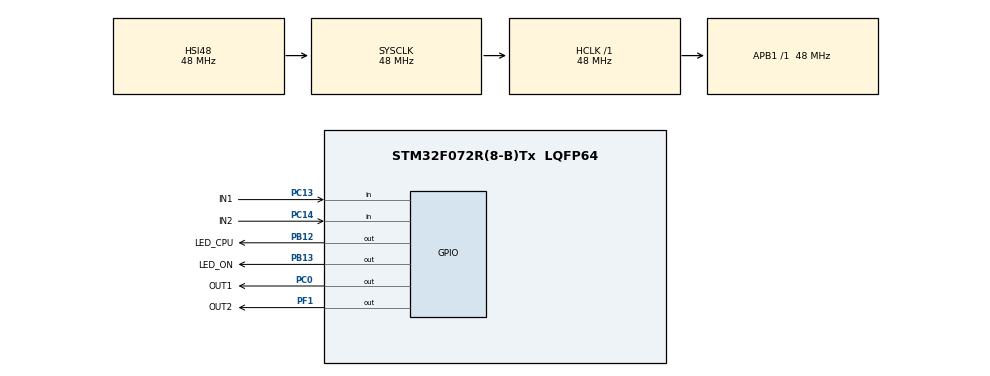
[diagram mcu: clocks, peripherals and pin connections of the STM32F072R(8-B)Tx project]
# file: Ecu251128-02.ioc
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IWDG.Prescaler=IWDG_PRESCALER_64
Mcu.Family=STM32F0
Mcu.Name=STM32F072R(8-B)Tx
Mcu.Package=LQFP64
NVIC.TIM3_IRQn=true\:0\:0\:false\:false\:true\:true\:true\:true
PB12.GPIO_Label=LED_CPU
PB12.Signal=GPIO_Output
PB13.GPIO_Label=LED_ON
PB13.Signal=GPIO_Output
PC0.GPIO_Label=OUT1
PC0.Signal=GPIO_Output
PC13.GPIO_Label=IN1
PC13.GPIO_PuPd=GPIO_PULLUP
PC13.Signal=GPIO_Input
PC14-OSC32_IN.GPIO_Label=IN2
PC14-OSC32_IN.GPIO_PuPd=GPIO_PULLUP
PC14-OSC32_IN.Signal=GPIO_Input
PF1-OSC_OUT.GPIO_Label=OUT2
PF1-OSC_OUT.Signal=GPIO_Output
ProjectManager.HeapSize=0x200
ProjectManager.StackSize=0x400
ProjectManager.TargetToolchain=STM32CubeIDE
RCC.AHBFreq_Value=48000000
RCC.APB1Freq_Value=48000000
RCC.APB1TimFreq_Value=48000000
RCC.HCLKFreq_Value=48000000
RCC.SYSCLKFreq_VALUE=48000000
RCC.SYSCLKSource=RCC_SYSCLKSOURCE_HSI48
TIM2.Prescaler=48-1
TIM3.Period=10-1
TIM3.Prescaler=480-1
VP_IWDG_VS_IWDG.Mode=IWDG_Activate
VP_TIM2_VS_ClockSourceINT.Mode=Internal
VP_TIM3_VS_ClockSourceINT.Mode=Internal
board=custom

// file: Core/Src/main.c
/* USER CODE BEGIN Header */
/**
  ******************************************************************************
  * @file           : main.c
  * @brief          : Main program body
  ******************************************************************************
  * @attention
  *
  * Copyright (c) 2025 STMicroelectronics.
  * All rights reserved.
  *
  * This software is licensed under terms that can be found in the LICENSE file
  * in the root directory of this software component.
  * If no LICENSE file comes with this software, it is provided AS-IS.
  *
  ******************************************************************************
  */
/* USER CODE END Header */
#include "main.h"

/* USER CODE BEGIN Includes */
#include "global.h"
/* USER CODE END Includes */

IWDG_HandleTypeDef hiwdg;

TIM_HandleTypeDef htim2;
TIM_HandleTypeDef htim3;

/* USER CODE BEGIN PV */
uint8_t
	flagEntradaAcionamento = false,
	flagEntradaSeguranca = false,

	flagOperacao = false;

uint8_t
	contadorTempoPulso = 0,
	contadorTempoEntreReles = 0,

	passoOperacao = OPERACAO_STANDBY;

/* USER CODE END PV */

void SystemClock_Config(void);
static void MX_GPIO_Init(void);
static void MX_TIM2_Init(void);
static void MX_TIM3_Init(void);
static void MX_IWDG_Init(void);

/* USER CODE BEGIN 0 */
void HAL_TIM_PeriodElapsedCallback(TIM_HandleTypeDef *htim) {
	if(htim == &htim3) {
		schedulerEngine();
	}
}

void delayMicro(uint32_t tempo) {
	__HAL_TIM_SET_COUNTER(&htim2, 0);
	while(__HAL_TIM_GET_COUNTER(&htim2) < tempo) {
	}
}

void reiniciaWatchDog() {
	HAL_IWDG_Refresh(&hiwdg);
}

/* USER CODE END 0 */

int main(void)
{

  /* MCU Configuration--------------------------------------------------------*/

  /* Reset of all peripherals, Initializes the Flash interface and the Systick. */
  HAL_Init();

  /* Configure the system clock */
  SystemClock_Config();

  /* Initialize all configured peripherals */
  MX_GPIO_Init();
  MX_TIM2_Init();
  MX_TIM3_Init();
  MX_IWDG_Init();
  /* USER CODE BEGIN 2 */
  HAL_TIM_Base_Start(&htim2); //Timer do delay us
  HAL_TIM_Base_Start_IT(&htim3); //Timer do Scheduller

  /* USER CODE END 2 */

  /* Infinite loop */
  /* USER CODE BEGIN WHILE */
  while (1)
  {
	  entradasDigitais();
	  operacao();
    /* USER CODE END WHILE */

  }
}

void SystemClock_Config(void)
{
  RCC_OscInitTypeDef RCC_OscInitStruct = {0};
  RCC_ClkInitTypeDef RCC_ClkInitStruct = {0};

  /** Initializes the RCC Oscillators according to the specified parameters
  * in the RCC_OscInitTypeDef structure.
  */
  RCC_OscInitStruct.OscillatorType = RCC_OSCILLATORTYPE_HSI48|RCC_OSCILLATORTYPE_LSI;
  RCC_OscInitStruct.HSI48State = RCC_HSI48_ON;
  RCC_OscInitStruct.LSIState = RCC_LSI_ON;
  RCC_OscInitStruct.PLL.PLLState = RCC_PLL_NONE;
  if (HAL_RCC_OscConfig(&RCC_OscInitStruct) != HAL_OK)
  {
    Error_Handler();
  }

  /** Initializes the CPU, AHB and APB buses clocks
  */
  RCC_ClkInitStruct.ClockType = RCC_CLOCKTYPE_HCLK|RCC_CLOCKTYPE_SYSCLK
                              |RCC_CLOCKTYPE_PCLK1;
  RCC_ClkInitStruct.SYSCLKSource = RCC_SYSCLKSOURCE_HSI48;
  RCC_ClkInitStruct.AHBCLKDivider = RCC_SYSCLK_DIV1;
  RCC_ClkInitStruct.APB1CLKDivider = RCC_HCLK_DIV1;

  if (HAL_RCC_ClockConfig(&RCC_ClkInitStruct, FLASH_LATENCY_1) != HAL_OK)
  {
    Error_Handler();
  }
}

static void MX_IWDG_Init(void)
{

  hiwdg.Instance = IWDG;
  hiwdg.Init.Prescaler = IWDG_PRESCALER_64;
  hiwdg.Init.Window = 4095;
  hiwdg.Init.Reload = 4095;
  if (HAL_IWDG_Init(&hiwdg) != HAL_OK)
  {
    Error_Handler();
  }

}

static void MX_TIM2_Init(void)
{

  TIM_ClockConfigTypeDef sClockSourceConfig = {0};
  TIM_MasterConfigTypeDef sMasterConfig = {0};

  htim2.Instance = TIM2;
  htim2.Init.Prescaler = 48-1;
  htim2.Init.CounterMode = TIM_COUNTERMODE_UP;
  htim2.Init.Period = 4294967295;
  htim2.Init.ClockDivision = TIM_CLOCKDIVISION_DIV1;
  htim2.Init.AutoReloadPreload = TIM_AUTORELOAD_PRELOAD_DISABLE;
  if (HAL_TIM_Base_Init(&htim2) != HAL_OK)
  {
    Error_Handler();
  }
  sClockSourceConfig.ClockSource = TIM_CLOCKSOURCE_INTERNAL;
  if (HAL_TIM_ConfigClockSource(&htim2, &sClockSourceConfig) != HAL_OK)
  {
    Error_Handler();
  }
  sMasterConfig.MasterOutputTrigger = TIM_TRGO_RESET;
  sMasterConfig.MasterSlaveMode = TIM_MASTERSLAVEMODE_DISABLE;
  if (HAL_TIMEx_MasterConfigSynchronization(&htim2, &sMasterConfig) != HAL_OK)
  {
    Error_Handler();
  }

}

static void MX_TIM3_Init(void)
{

  TIM_ClockConfigTypeDef sClockSourceConfig = {0};
  TIM_MasterConfigTypeDef sMasterConfig = {0};

  htim3.Instance = TIM3;
  htim3.Init.Prescaler = 480-1;
  htim3.Init.CounterMode = TIM_COUNTERMODE_UP;
  htim3.Init.Period = 10-1;
  htim3.Init.ClockDivision = TIM_CLOCKDIVISION_DIV1;
  htim3.Init.AutoReloadPreload = TIM_AUTORELOAD_PRELOAD_DISABLE;
  if (HAL_TIM_Base_Init(&htim3) != HAL_OK)
  {
    Error_Handler();
  }
  sClockSourceConfig.ClockSource = TIM_CLOCKSOURCE_INTERNAL;
  if (HAL_TIM_ConfigClockSource(&htim3, &sClockSourceConfig) != HAL_OK)
  {
    Error_Handler();
  }
  sMasterConfig.MasterOutputTrigger = TIM_TRGO_RESET;
  sMasterConfig.MasterSlaveMode = TIM_MASTERSLAVEMODE_DISABLE;
  if (HAL_TIMEx_MasterConfigSynchronization(&htim3, &sMasterConfig) != HAL_OK)
  {
    Error_Handler();
  }

}

static void MX_GPIO_Init(void)
{
  GPIO_InitTypeDef GPIO_InitStruct = {0};

  /* GPIO Ports Clock Enable */
  __HAL_RCC_GPIOC_CLK_ENABLE();
  __HAL_RCC_GPIOF_CLK_ENABLE();
  __HAL_RCC_GPIOB_CLK_ENABLE();

  /*Configure GPIO pin Output Level */
  HAL_GPIO_WritePin(OUT2_GPIO_Port, OUT2_Pin, GPIO_PIN_RESET);

  /*Configure GPIO pin Output Level */
  HAL_GPIO_WritePin(OUT1_GPIO_Port, OUT1_Pin, GPIO_PIN_RESET);

  /*Configure GPIO pin Output Level */
  HAL_GPIO_WritePin(GPIOB, LED_CPU_Pin|LED_ON_Pin, GPIO_PIN_RESET);

  /*Configure GPIO pins : IN1_Pin IN2_Pin */
  GPIO_InitStruct.Pin = IN1_Pin|IN2_Pin;
  GPIO_InitStruct.Mode = GPIO_MODE_INPUT;
  GPIO_InitStruct.Pull = GPIO_PULLUP;
  HAL_GPIO_Init(GPIOC, &GPIO_InitStruct);

  /*Configure GPIO pin : OUT2_Pin */
  GPIO_InitStruct.Pin = OUT2_Pin;
  GPIO_InitStruct.Mode = GPIO_MODE_OUTPUT_PP;
  GPIO_InitStruct.Pull = GPIO_NOPULL;
  GPIO_InitStruct.Speed = GPIO_SPEED_FREQ_LOW;
  HAL_GPIO_Init(OUT2_GPIO_Port, &GPIO_InitStruct);

  /*Configure GPIO pin : OUT1_Pin */
  GPIO_InitStruct.Pin = OUT1_Pin;
  GPIO_InitStruct.Mode = GPIO_MODE_OUTPUT_PP;
  GPIO_InitStruct.Pull = GPIO_NOPULL;
  GPIO_InitStruct.Speed = GPIO_SPEED_FREQ_LOW;
  HAL_GPIO_Init(OUT1_GPIO_Port, &GPIO_InitStruct);

  /*Configure GPIO pins : LED_CPU_Pin LED_ON_Pin */
  GPIO_InitStruct.Pin = LED_CPU_Pin|LED_ON_Pin;
  GPIO_InitStruct.Mode = GPIO_MODE_OUTPUT_PP;
  GPIO_InitStruct.Pull = GPIO_NOPULL;
  GPIO_InitStruct.Speed = GPIO_SPEED_FREQ_LOW;
  HAL_GPIO_Init(GPIOB, &GPIO_InitStruct);

}

void Error_Handler(void)
{
  __disable_irq();
  while (1)
  {
  }
}
